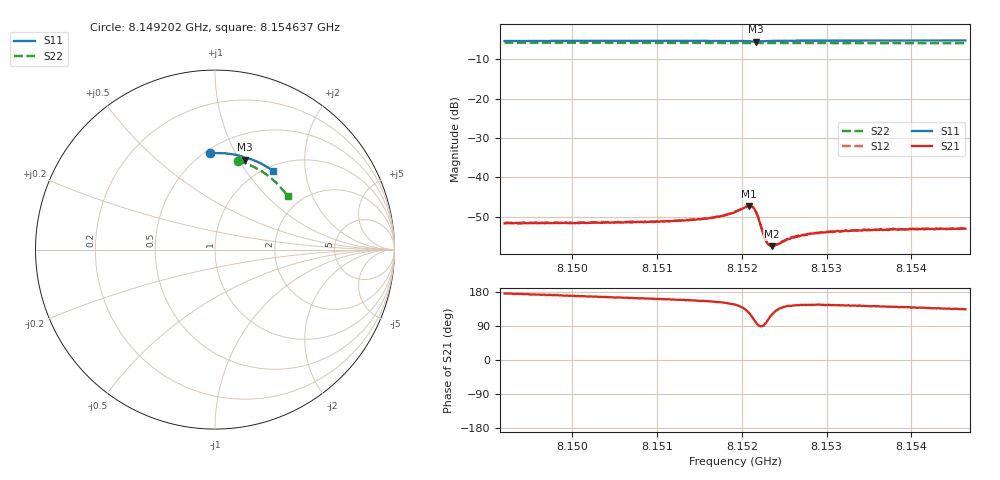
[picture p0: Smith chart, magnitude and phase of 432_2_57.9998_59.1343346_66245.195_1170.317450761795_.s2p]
#  HZ  S  RI  R  50.00
! Rohde & Schwarz Vector Network Analyzer
! Rohde-Schwarz,ZNB20-2Port,1311601062101988,3.16
! Created: UTC 3/21/2024, 1:09:42 AM
! freq[Hz]  re:S11  im:S11  re:S21  im:S21  re:S12  im:S12  re:S22  im:S22
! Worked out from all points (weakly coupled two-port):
!   401 points, 8.149202 GHz to 8.154637 GHz, reference 50 ohm
!   highest |S21| = -47.24 dB at 8.152083 GHz (marker M1); lowest = -57.5 dB at 8.152355 GHz (marker M2)
!   lowest |S11| = -5.6 dB at 8.152164 GHz (marker M3), VSWR 3.23, Z = 38.2 + j52.9 ohm
!   |S11| at or under -10 dB: nowhere
!   |S22| runs from -6.0 to -5.8 dB; largest |S21 - S12| = 0.00013
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8.1492023e9  -0.0305 0.5362  -0.0026 0.000207  -0.00262 0.000257  0.1291 0.4939
8.1501127e9  0.0328 0.5375  -0.00259 0.000526  -0.00258 0.000597  0.1847 0.4747
8.151023e9  0.0961 0.5314  -0.00258 0.000886  -0.00264 0.000932  0.2374 0.4492
8.1512947e9  0.115 0.528  -0.00265 0.00104  -0.00263 0.00112  0.2524 0.4406
8.1516344e9  0.139 0.5225  -0.00274 0.00132  -0.00277 0.00137  0.2706 0.4291
8.1517567e9  0.1478 0.5199  -0.00286 0.00151  -0.00286 0.00156  0.277 0.4246
8.1519197e9  0.16 0.5149  -0.00301 0.00202  -0.00303 0.00209  0.2856 0.4187
8.1520828e9  0.1699 0.5042  -0.00247 0.00358  -0.00246 0.00364  0.2938 0.4122
8.1521235e9  0.1689 0.5011  -0.00163 0.00393  -0.0016 0.00396  0.2957 0.4106
8.1521643e9  0.1665 0.5005  -0.000606 0.00364  -0.00058 0.00369  0.2975 0.4091
8.1521915e9  0.1656 0.502  -0.000129 0.00313  -9.57e-05 0.00319  0.2988 0.4083
8.1522594e9  0.1686 0.5067  -5.9e-05 0.00186  -2.5e-05 0.00188  0.3024 0.4059
8.1522866e9  0.1711 0.5079  -0.000233 0.00155  -0.000215 0.00156  0.3036 0.4048
8.1523002e9  0.1721 0.5082  -0.000335 0.00143  -0.000322 0.00144  0.3045 0.4043
8.1523273e9  0.1746 0.5085  -0.000512 0.00127  -0.0005 0.00129  0.3057 0.4032
8.1523545e9  0.177 0.5086  -0.000661 0.00117  -0.000657 0.00118  0.3072 0.4022
8.1523953e9  0.1806 0.5083  -0.000871 0.00108  -0.000862 0.00108  0.3091 0.4006
8.1525855e9  0.1953 0.5049  -0.00138 0.00104  -0.00138 0.00106  0.3185 0.3927
8.1528301e9  0.2124 0.4992  -0.0016 0.00108  -0.00163 0.00113  0.3301 0.3827
8.1531154e9  0.2312 0.4915  -0.00168 0.00122  -0.00164 0.00122  0.3433 0.3702
8.1537404e9  0.2704 0.4722  -0.00169 0.00135  -0.00171 0.00141  0.3705 0.3417
8.1546371e9  0.3231 0.4394  -0.00154 0.00161  -0.00155 0.0016  0.4049 0.2975
